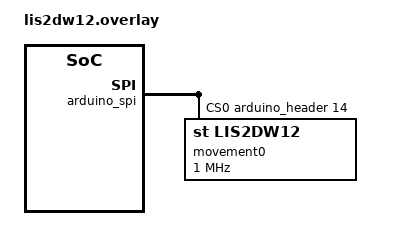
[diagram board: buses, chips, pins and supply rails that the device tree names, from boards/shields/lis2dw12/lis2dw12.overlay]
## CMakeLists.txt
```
# SPDX-License-Identifier: Apache-2.0

cmake_minimum_required(VERSION 3.20.0)

set(BOARD_ROOT "${CMAKE_CURRENT_SOURCE_DIR}/")
find_package(Zephyr REQUIRED HINTS $ENV{ZEPHYR_BASE})
project(SPI-bug-demo)

FILE(GLOB app_sources src/*.c)
target_sources(app PRIVATE ${app_sources})
```

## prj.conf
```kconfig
CONFIG_PM=y
CONFIG_PM_DEVICE=y
CONFIG_PM_DEVICE_RUNTIME=y

CONFIG_SPI=y

CONFIG_SENSOR=y
CONFIG_LIS2DW12=y
```

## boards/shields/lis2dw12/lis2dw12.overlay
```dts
/ {
	aliases {
	};
};

&arduino_spi {
    cs-gpios = <&arduino_header 14 0>;			/* D8 */

    movement0: lis2dw12@0 {
		compatible = "st,lis2dw12";
		spi-max-frequency = <1000000>;
		reg = <0>;
	};
};
```

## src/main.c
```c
#include <zephyr/kernel.h>
#include <zephyr/devicetree.h>
#include <zephyr/sys/printk.h>
#include <zephyr/drivers/gpio.h>
#include <zephyr/drivers/sensor.h>
#include <zephyr/pm/pm.h>
#include <zephyr/pm/policy.h>

#define LED_ON   GPIO_ACTIVE_LOW
#define LED_OFF  GPIO_ACTIVE_HIGH

static const struct gpio_dt_spec ledGreen = GPIO_DT_SPEC_GET(DT_ALIAS(led0), gpios);

const struct device *lis2dw12 = NULL;
struct sensor_value accel[3];

void handleError(int r, char* msg);
int initPeripherals();
int fetchEnvironmentData();
int fetchMotionData();


void blockStop2()
{
	pm_policy_state_lock_get(PM_STATE_SUSPEND_TO_IDLE, 3);
}

void main(void)
{
    // k_msleep(1000);
    // blockStop2();  // locking STOP2 before it is ever accessed, removes the issue

    handleError(initPeripherals(), "init peripherals");

    while (1)
    {
        k_msleep(2000);

        gpio_pin_set_dt(&ledGreen, LED_ON);
        handleError(fetchMotionData(), "fetch motion data");
        float accelF[] = { sensor_value_to_double(&accel[0]),
                           sensor_value_to_double(&accel[1]),
                           sensor_value_to_double(&accel[2]) };
        printk("Measured: [%i, %i, %i]\n",
               (int) accelF[0] * 100,
               (int) accelF[1] * 100,
               (int) accelF[2] * 100);
        gpio_pin_set_dt(&ledGreen, LED_OFF);
    }
}


void handleError(int r, char* msg)
{
    if (r != 0)
    {
        printk("Error %d: %s\n", r, msg);
        while (1);
    }
    else
    {
        printk("Success: %s\n", msg);
    }
}

int initPeripherals()
{
    gpio_pin_configure_dt(&ledGreen, GPIO_OUTPUT_INACTIVE);
    gpio_pin_set_dt(&ledGreen, LED_ON);

#ifdef CONFIG_LIS2DW12
    lis2dw12 = DEVICE_DT_GET_ONE(st_lis2dw12);

    if (lis2dw12 == NULL) {
      printk("Could not get LIS2DW12 device\n");
      return -1;
    }

    /* set LIS2DW12 accel sampling frequency to 1.6 Hz */

    struct sensor_value odr_attr;
    odr_attr.val1 = 1;
    odr_attr.val2 = 600000;

    if (sensor_attr_set(lis2dw12, SENSOR_CHAN_ACCEL_XYZ,
                        SENSOR_ATTR_SAMPLING_FREQUENCY, &odr_attr) < 0)
    {
        printk("Cannot set sampling frequency for LIS2DW12 accel\n");
        return -2;
    }
#endif

    gpio_pin_set_dt(&ledGreen, LED_OFF);
    return 0;
}

int fetchMotionData()
{
    if (lis2dw12 != NULL)
    {
        int r = sensor_sample_fetch(lis2dw12);
        if (r == 0)
        {
            r = sensor_channel_get(lis2dw12, SENSOR_CHAN_ACCEL_XYZ, accel);
        }
        if (r != 0) {
            printk("LIS2DW12 failed: %d\n", r);
            return -1;
        }
    }
    else
    {
        printk("Skipping LIS2DW12\n");
    }

    return 0;
}
```
